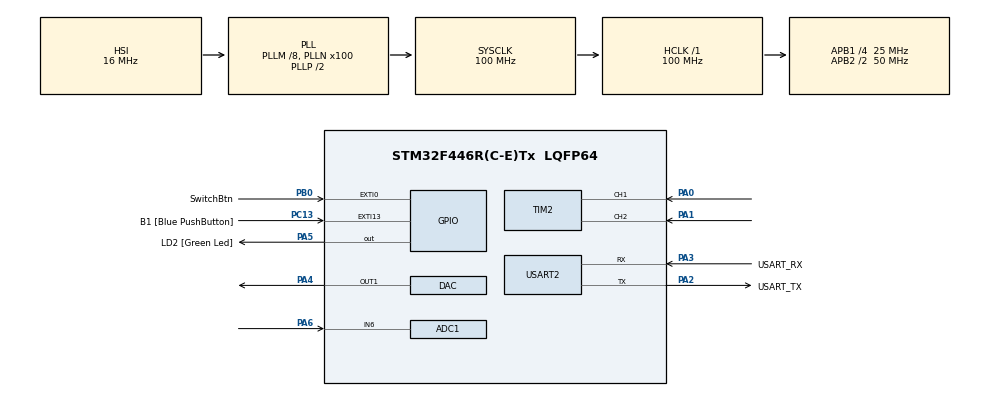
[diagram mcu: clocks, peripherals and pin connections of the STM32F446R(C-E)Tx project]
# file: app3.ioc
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ADC1.Channel-5\#ChannelRegularConversion=ADC_CHANNEL_6
ADC1.ContinuousConvMode=DISABLE
ADC1.DMAContinuousRequests=ENABLE
ADC1.ExternalTrigConv=ADC_EXTERNALTRIGCONV_T8_TRGO
ADC1.InjNumberOfConversion=0
ADC1.NbrOfConversion=1
ADC1.NbrOfConversionFlag=1
ADC1.Rank-5\#ChannelRegularConversion=1
ADC1.SamplingTime-5\#ChannelRegularConversion=ADC_SAMPLETIME_28CYCLES
ADC1.master=1
DAC.DAC_Trigger=DAC_TRIGGER_T8_TRGO
Dma.ADC1.1.Direction=DMA_PERIPH_TO_MEMORY
Dma.ADC1.1.FIFOMode=DMA_FIFOMODE_DISABLE
Dma.ADC1.1.Instance=DMA2_Stream0
Dma.ADC1.1.MemDataAlignment=DMA_MDATAALIGN_HALFWORD
Dma.ADC1.1.MemInc=DMA_MINC_ENABLE
Dma.ADC1.1.Mode=DMA_CIRCULAR
Dma.ADC1.1.PeriphDataAlignment=DMA_PDATAALIGN_HALFWORD
Dma.ADC1.1.PeriphInc=DMA_PINC_DISABLE
Dma.ADC1.1.Priority=DMA_PRIORITY_LOW
Dma.DAC1.0.Direction=DMA_MEMORY_TO_PERIPH
Dma.DAC1.0.FIFOMode=DMA_FIFOMODE_DISABLE
Dma.DAC1.0.Instance=DMA1_Stream5
Dma.DAC1.0.MemDataAlignment=DMA_MDATAALIGN_HALFWORD
Dma.DAC1.0.MemInc=DMA_MINC_ENABLE
Dma.DAC1.0.Mode=DMA_CIRCULAR
Dma.DAC1.0.PeriphDataAlignment=DMA_PDATAALIGN_HALFWORD
Dma.DAC1.0.PeriphInc=DMA_PINC_DISABLE
Dma.DAC1.0.Priority=DMA_PRIORITY_LOW
Dma.Request0=DAC1
Dma.Request1=ADC1
Mcu.Family=STM32F4
Mcu.Name=STM32F446R(C-E)Tx
Mcu.Package=LQFP64
NVIC.ADC_IRQn=true\:0\:0\:false\:false\:true\:true\:true\:true
NVIC.DMA1_Stream5_IRQn=true\:0\:0\:false\:false\:true\:false\:true\:true
NVIC.DMA2_Stream0_IRQn=true\:0\:0\:false\:false\:true\:false\:true\:true
NVIC.EXTI0_IRQn=true\:0\:0\:false\:false\:true\:true\:true\:true
NVIC.PriorityGroup=NVIC_PRIORITYGROUP_0
NVIC.TIM1_UP_TIM10_IRQn=true\:0\:0\:false\:false\:true\:true\:true\:true
NVIC.TIM2_IRQn=true\:0\:0\:false\:false\:true\:true\:true\:true
NVIC.TIM6_DAC_IRQn=true\:0\:0\:false\:false\:true\:true\:true\:true
NVIC.TIM8_UP_TIM13_IRQn=true\:0\:0\:false\:false\:true\:true\:true\:true
PA0-WKUP.Signal=S_TIM2_CH1_ETR
PA1.Signal=S_TIM2_CH2
PA13.GPIO_Label=TMS
PA13.Mode=Trace_Asynchronous_SW
PA13.Signal=SYS_JTMS-SWDIO
PA14.GPIO_Label=TCK
PA14.Mode=Trace_Asynchronous_SW
PA14.Signal=SYS_JTCK-SWCLK
PA2.GPIO_Label=USART_TX
PA2.Mode=Asynchronous
PA2.Signal=USART2_TX
PA3.GPIO_Label=USART_RX
PA3.Mode=Asynchronous
PA3.Signal=USART2_RX
PA4.Signal=COMP_DAC1_group
PA5.GPIO_Label=LD2 [Green Led]
PA5.Signal=GPIO_Output
PA6.Signal=ADCx_IN6
PB0.GPIO_Label=SwitchBtn
PB0.GPIO_ModeDefaultEXTI=GPIO_MODE_IT_FALLING
PB0.Signal=GPXTI0
PB3.GPIO_Label=SWO
PB3.Mode=Trace_Asynchronous_SW
PB3.Signal=SYS_JTDO-SWO
PC13.GPIO_Label=B1 [Blue PushButton]
PC13.GPIO_ModeDefaultEXTI=GPIO_MODE_IT_FALLING
PC13.Signal=GPXTI13
PC14-OSC32_IN.Mode=LSE-External-Oscillator
PC14-OSC32_IN.Signal=RCC_OSC32_IN
PC15-OSC32_OUT.Mode=LSE-External-Oscillator
PC15-OSC32_OUT.Signal=RCC_OSC32_OUT
PH0-OSC_IN.Mode=HSE-External-Oscillator
PH0-OSC_IN.Signal=RCC_OSC_IN
PH1-OSC_OUT.Mode=HSE-External-Oscillator
PH1-OSC_OUT.Signal=RCC_OSC_OUT
ProjectManager.HeapSize=0x200
ProjectManager.StackSize=0x400
ProjectManager.TargetToolchain=CMake
RCC.48MHZClocksFreq_Value=84000000
RCC.AHBFreq_Value=100000000
RCC.APB1CLKDivider=RCC_HCLK_DIV4
RCC.APB1Freq_Value=25000000
RCC.APB1TimFreq_Value=50000000
RCC.APB2CLKDivider=RCC_HCLK_DIV2
RCC.APB2Freq_Value=50000000
RCC.APB2TimFreq_Value=100000000
RCC.CortexFreq_Value=100000000
RCC.FLatency-AdvancedSettings=FLASH_LATENCY_3
RCC.HCLKFreq_Value=100000000
RCC.HSE_VALUE=8000000
RCC.HSI_VALUE=16000000
RCC.PLLM=8
RCC.PLLN=100
RCC.SYSCLKFreq_VALUE=100000000
RCC.SYSCLKSource=RCC_SYSCLKSOURCE_PLLCLK
RCC.USBFreq_Value=100000000
RCC.VCOOutputFreq_Value=200000000
SH.ADCx_IN6.0=ADC1_IN6,IN6
SH.COMP_DAC1_group.0=DAC_OUT1,DAC_OUT1
SH.S_TIM2_CH1_ETR.0=TIM2_CH1,Encoder_Interface
SH.S_TIM2_CH2.0=TIM2_CH2,Encoder_Interface
STMicroelectronics.X-CUBE-ALGOBUILD.1.4.0.LibraryCcDSPOoLibraryJjDSPOoLibrary=true
TIM8.Period=2000 - 1
TIM8.TIM_MasterOutputTrigger=TIM_TRGO_UPDATE
USART2.VirtualMode=VM_ASYNC
VP_STMicroelectronics.X-CUBE-ALGOBUILD_VS_DSPOoLibraryJjLibrary_1.4.0_1.4.0.Mode=DSPOoLibraryJjLibrary
VP_TIM10_VS_ClockSourceINT.Mode=Enable_Timer
VP_TIM8_VS_ClockSourceINT.Mode=Internal
board=NUCLEO-F446RE

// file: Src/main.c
/* USER CODE BEGIN Header */
/**
  ******************************************************************************
  * @file           : main.c
  * @brief          : Main program body
  ******************************************************************************
  * @attention
  *
  * Copyright (c) 2025 STMicroelectronics.
  * All rights reserved.
  *
  * This software is licensed under terms that can be found in the LICENSE file
  * in the root directory of this software component.
  * If no LICENSE file comes with this software, it is provided AS-IS.
  *
  ******************************************************************************
  */
/* USER CODE END Header */
#include "main.h"
#include "adc.h"
#include "dac.h"
#include "dma.h"
#include "tim.h"
#include "usart.h"
#include "gpio.h"

/* USER CODE BEGIN Includes */
#include "arm_math.h"
// #include "dsp/transform_functions.h"
/* USER CODE END Includes */

/* USER CODE BEGIN PTD */
typedef enum { false, true } bool;

#define NUM_PARAMETERS  5
typedef enum {
  VOLUME = 0,
  SUBTRACT_SCALE,
  MUTE_SCALE,
  THRESHOLD,
  HANGOVER    // coyote time?
} ParameterType;

typedef struct {
  const ParameterType type;
  float ref;
  const float min;
  const float max;
  const float step;
  volatile float value;
} Parameter;

typedef struct {
  ParameterType curr;
  // uint16_t prevCounter;
  // uint16_t currCounter;
  Parameter parameters[NUM_PARAMETERS];
} UserControl;

#define MAX_BUFS  16  // I yield.
typedef struct {
  const uint16_t numBufs;
  const uint16_t bufSize;
  const enum { NORMAL, CIRCULAR } dmaMode;
  volatile bool dmaDone;
  volatile bool finished;
  union {
    struct {
      volatile uint16_t dmaInd;
      volatile uint16_t activeInds[MAX_BUFS - 1];
    };
    volatile uint16_t indices[MAX_BUFS];
  };
  volatile void* buffers;
} MultiBuffer;
/* USER CODE END PTD */

/* USER CODE BEGIN PD */
#define HALF_FRAME_SIZE   512
#define FULL_FRAME_SIZE   2 * HALF_FRAME_SIZE
#define ADC_MAX           4096
#define ADC_MAX_F         4096.0f
#define ADC_MID           2048
#define CNT_MAX           65536
#define CNT_MID           32768
/* USER CODE END PD */

/* USER CODE BEGIN PM */
#define MIN(a,b)            ((a) < (b) ? a : b)         // MIND THE SIDE EFFECTS!
#define MAX(a,b)            ((a) > (b) ? a : b)         // MIND THE SIDE EFFECTS!
#define NEXT(n,m)           ((n) == (m-1) ? 0 : (n+1))  // MIND THE SIDE EFFECTS!
#define PREV(n,m)           ((n) == 0 ? (m-1) : (n-1))  // MIND THE SIDE EFFECTS!

#define ACTIVE_BUF(b, t, n) ((t(*)[b.bufSize]) (b.buffers))[b.activeInds[n]]
#define DMA_BUF(b, t)       ((t(*)[b.bufSize]) (b.buffers))[b.dmaInd]

#define INT16_TO_FLOAT(n)   (1.0f / ADC_MAX_F * (n - ADC_MID))
#define FLOAT_TO_INT16(n)   ((int16_t)(ADC_MAX * n) + ADC_MID)
/* USER CODE END PM */

/* USER CODE BEGIN PV */
int16_t adcData[2 * HALF_FRAME_SIZE] = {0};
MultiBuffer adcBuf = {2, HALF_FRAME_SIZE, CIRCULAR, false, false, {.indices = {0, 1}}, (void*)adcData};
int16_t dacData[2 * HALF_FRAME_SIZE] = {0};
MultiBuffer dacBuf = {2, HALF_FRAME_SIZE, CIRCULAR, false, false, {.indices = {0, 1}}, (void*)dacData};

float inData[2 * HALF_FRAME_SIZE] = {0.0};
MultiBuffer inBuf = {2, HALF_FRAME_SIZE, NORMAL, false, false, {.indices = {0, 1}}, (void*)inData};
float outData[2 * HALF_FRAME_SIZE] = {0.0};
MultiBuffer outBuf = {2, HALF_FRAME_SIZE, NORMAL, false, false, {.indices = {0, 1}}, (void*)outData};

arm_rfft_fast_instance_f32 fft;
float frequency[HALF_FRAME_SIZE] = {0};
float temp[HALF_FRAME_SIZE] = {0};

UserControl ctrl = { VOLUME, {
  {VOLUME,          0.5,  0.0,   1.0,  0.05},
  {SUBTRACT_SCALE,  4.0,  0.0,   10.0, 1.0},
  {MUTE_SCALE,      0.03, 0.00,  0.10, 0.01},
  {THRESHOLD,       3.0,  -10.0, 10.0, 1.0},
  {HANGOVER,        30.0, 0.0,   50.0, 5.0}
}};
bool justPressed = false;
/* USER CODE END PV */

void SystemClock_Config(void);

/* USER CODE BEGIN 0 */
static int16_t clampInt16(int16_t value, int16_t min, int16_t max) {
  if (value > max) return max;
  if (value < min) return min;
  return value;
}

static void MultiBufferRotate(MultiBuffer* mb) {
  for (int i = 0; i < mb->numBufs; i++) {
    mb->indices[i] = NEXT(mb->indices[i], mb->numBufs);
  }
}

static float UserControlValue(const UserControl control, ParameterType type) {
  return control.parameters[type].value;
}

static int16_t UserControlUpdate(Parameter* param) {
  int16_t count = TIM2->CNT - CNT_MID;     // TODO: what if overflow? naaah
  param->value = param->ref + count * param->step;
  if (param->value > param->max) {        // TODO: clamp count. memory needed
    param->value = param->max;
  }
  if (param->value < param->min) {
    param->value = param->min;
  }
  return count;
}

static ParameterType UserControlSwitch(UserControl* control) {
  ParameterType* type = &(control->curr);
  UserControlUpdate(&(control->parameters[*type]));
  control->parameters[*type].ref = control->parameters[*type].value;
  TIM2->CNT = CNT_MID;
  *type = NEXT(*(type), NUM_PARAMETERS);
  return *type;
  // switch (*type) {
  //   case VOLUME:
  //     *type = SUBTRACT_SCALE;
  //     break;
  //   case SUBTRACT_SCALE:
  //     *type = MUTE_SCALE;
  //     break;
  //   case MUTE_SCALE:
  //     *type = THRESHOLD;
  //     break;
  //   case THRESHOLD:
  //     *type = HANGOVER;
  //     break;
  //   case HANGOVER:
  //     *type = VOLUME;
  //     break;
  //   default:
  //     *type = VOLUME;
  //     break;
  // }
}

void HAL_GPIO_EXTI_Callback(uint16_t pin) {
  if (pin == SwitchBtn_Pin && justPressed == false) {
    // HAL_TIM_Base_Start_IT(&htim10);
    // justPressed = true;
    UserControlSwitch(&ctrl);
    HAL_GPIO_TogglePin(LD2_GPIO_Port, LD2_Pin);
  } else {
    __NOP();
  }
}

// void HAL_TIM_PeriodElapsedCallback(TIM_HandleTypeDef *htim) {
//   if (htim == &htim10) {
//     UserControlSwitch(&ctrl);
//     HAL_GPIO_TogglePin(LD2_GPIO_Port, LD2_Pin);
//     justPressed = false;
//     HAL_TIM_Base_Stop_IT(&htim10);
//   }
// }

void HAL_ADC_ConvCpltCallback(ADC_HandleTypeDef *hadc) {
  UNUSED(hadc);
  // HAL_GPIO_WritePin(LD2_GPIO_Port, LD2_Pin, GPIO_PIN_SET);

  MultiBufferRotate(&adcBuf);
  adcBuf.dmaDone = true;
}

void HAL_ADC_ConvHalfCpltCallback(ADC_HandleTypeDef *hadc) {
  UNUSED(hadc);
  // HAL_GPIO_WritePin(LD2_GPIO_Port, LD2_Pin, GPIO_PIN_RESET);

  MultiBufferRotate(&adcBuf);
  adcBuf.dmaDone = true;
}

static void processData() {
  if (adcBuf.dmaDone == true) {
    for (int i = 0; i < adcBuf.bufSize; i++) {
      DMA_BUF(inBuf, float)[i] = INT16_TO_FLOAT( ACTIVE_BUF(adcBuf, int16_t, 0)[i] );
    }
    adcBuf.dmaDone = false;
    MultiBufferRotate(&inBuf);
    // memcpy(&(DMA_BUF(outBuf, float)), &(ACTIVE_BUF(inBuf, float, 0)), HALF_FRAME_SIZE * sizeof(float));
    arm_rfft_fast_f32(&fft, ACTIVE_BUF(inBuf, float, 0), frequency, 0);
    arm_scale_f32(frequency, UserControlValue(ctrl, VOLUME), temp, HALF_FRAME_SIZE);
    arm_rfft_fast_f32(&fft, temp, ACTIVE_BUF(outBuf, float, 0), 1);

    MultiBufferRotate(&outBuf);

    for (int i = 0; i < adcBuf.bufSize; i++) {
      DMA_BUF(dacBuf, int16_t)[i] = FLOAT_TO_INT16( ACTIVE_BUF(outBuf, float, 0)[i] );
    }
    MultiBufferRotate(&dacBuf);
  }
}
/* USER CODE END 0 */

int main(void)
{

  /* MCU Configuration--------------------------------------------------------*/

  /* Reset of all peripherals, Initializes the Flash interface and the Systick. */
  HAL_Init();

  /* Configure the system clock */
  SystemClock_Config();

  /* Initialize all configured peripherals */
  MX_GPIO_Init();
  MX_DMA_Init();
  MX_ADC1_Init();
  MX_DAC_Init();
  MX_USART2_UART_Init();
  MX_TIM2_Init();
  MX_TIM8_Init();
  MX_TIM10_Init();
  /* USER CODE BEGIN 2 */
  HAL_TIM_Base_Start_IT(&htim8);
  HAL_TIM_Encoder_Start_IT(&htim2, TIM_CHANNEL_ALL);
  HAL_ADC_Start_DMA(&hadc1, (uint32_t*)adcData, 2 * HALF_FRAME_SIZE);
  HAL_DAC_Start_DMA(&hdac, DAC_CHANNEL_1, (uint32_t*)dacData, 2 * HALF_FRAME_SIZE, DAC_ALIGN_12B_R);

  arm_rfft_fast_init_f32(&fft, HALF_FRAME_SIZE);
  TIM2->CNT = CNT_MID;
  /* USER CODE END 2 */

  /* Infinite loop */
  while (1)
  {

    /* USER CODE BEGIN 3 */
    UserControlUpdate(&(ctrl.parameters[ctrl.curr]));
    processData();
  }
  /* USER CODE END 3 */
}

void SystemClock_Config(void)
{
  RCC_OscInitTypeDef RCC_OscInitStruct = {0};
  RCC_ClkInitTypeDef RCC_ClkInitStruct = {0};

  /** Configure the main internal regulator output voltage
  */
  __HAL_RCC_PWR_CLK_ENABLE();
  __HAL_PWR_VOLTAGESCALING_CONFIG(PWR_REGULATOR_VOLTAGE_SCALE3);

  /** Initializes the RCC Oscillators according to the specified parameters
  * in the RCC_OscInitTypeDef structure.
  */
  RCC_OscInitStruct.OscillatorType = RCC_OSCILLATORTYPE_HSI;
  RCC_OscInitStruct.HSIState = RCC_HSI_ON;
  RCC_OscInitStruct.HSICalibrationValue = RCC_HSICALIBRATION_DEFAULT;
  RCC_OscInitStruct.PLL.PLLState = RCC_PLL_ON;
  RCC_OscInitStruct.PLL.PLLSource = RCC_PLLSOURCE_HSI;
  RCC_OscInitStruct.PLL.PLLM = 8;
  RCC_OscInitStruct.PLL.PLLN = 100;
  RCC_OscInitStruct.PLL.PLLP = RCC_PLLP_DIV2;
  RCC_OscInitStruct.PLL.PLLQ = 2;
  RCC_OscInitStruct.PLL.PLLR = 2;
  if (HAL_RCC_OscConfig(&RCC_OscInitStruct) != HAL_OK)
  {
    Error_Handler();
  }

  /** Initializes the CPU, AHB and APB buses clocks
  */
  RCC_ClkInitStruct.ClockType = RCC_CLOCKTYPE_HCLK|RCC_CLOCKTYPE_SYSCLK
                              |RCC_CLOCKTYPE_PCLK1|RCC_CLOCKTYPE_PCLK2;
  RCC_ClkInitStruct.SYSCLKSource = RCC_SYSCLKSOURCE_PLLCLK;
  RCC_ClkInitStruct.AHBCLKDivider = RCC_SYSCLK_DIV1;
  RCC_ClkInitStruct.APB1CLKDivider = RCC_HCLK_DIV4;
  RCC_ClkInitStruct.APB2CLKDivider = RCC_HCLK_DIV2;

  if (HAL_RCC_ClockConfig(&RCC_ClkInitStruct, FLASH_LATENCY_3) != HAL_OK)
  {
    Error_Handler();
  }
}

void Error_Handler(void)
{
  __disable_irq();
  while (1)
  {
  }
}
